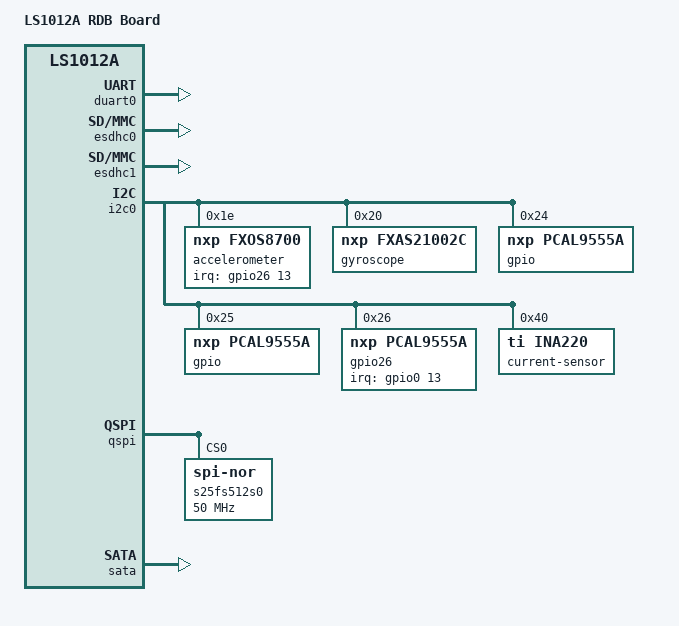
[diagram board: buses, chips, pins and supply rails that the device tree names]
// SPDX-License-Identifier: (GPL-2.0+ OR MIT)
/*
 * Device Tree file for Freescale LS1012A RDB Board.
 *
 * Copyright 2016 Freescale Semiconductor, Inc.
 *
 */
/dts-v1/;

#include <dt-bindings/interrupt-controller/irq.h>
#include "fsl-ls1012a.dtsi"

/ {
	model = "LS1012A RDB Board";
	compatible = "fsl,ls1012a-rdb", "fsl,ls1012a";

	aliases {
		serial0 = &duart0;
		mmc0 = &esdhc0;
		mmc1 = &esdhc1;
	};
};

&duart0 {
	status = "okay";
};

&esdhc0 {
	sd-uhs-sdr104;
	sd-uhs-sdr50;
	sd-uhs-sdr25;
	sd-uhs-sdr12;
	status = "okay";
};

&esdhc1 {
	mmc-hs200-1_8v;
	status = "okay";
};

&i2c0 {
	status = "okay";

	accelerometer@1e {
		compatible = "nxp,fxos8700";
		reg = <0x1e>;
		interrupt-parent = <&gpio26>;
		interrupts = <13 IRQ_TYPE_EDGE_RISING>;
		interrupt-names = "INT1";
	};

	gyroscope@20 {
		compatible = "nxp,fxas21002c";
		reg = <0x20>;
	};

	gpio@24 {
		compatible = "nxp,pcal9555a";
		reg = <0x24>;
		gpio-controller;
		#gpio-cells = <2>;
	};

	gpio@25 {
		compatible = "nxp,pcal9555a";
		reg = <0x25>;
		gpio-controller;
		#gpio-cells = <2>;
	};

	gpio26: gpio@26 {
		compatible = "nxp,pcal9555a";
		reg = <0x26>;
		interrupt-parent = <&gpio0>;
		interrupts = <13 IRQ_TYPE_EDGE_FALLING>;
		interrupt-controller;
		#interrupt-cells = <2>;
		gpio-controller;
		#gpio-cells = <2>;
	};

	current-sensor@40 {
		compatible = "ti,ina220";
		reg = <0x40>;
		shunt-resistor = <2000>;
	};
};

&qspi {
	status = "okay";

	s25fs512s0: flash@0 {
		compatible = "jedec,spi-nor";
		#address-cells = <1>;
		#size-cells = <1>;
		spi-max-frequency = <50000000>;
		m25p,fast-read;
		reg = <0>;
		spi-rx-bus-width = <2>;
		spi-tx-bus-width = <2>;
	};
};

&sata {
	status = "okay";
};
